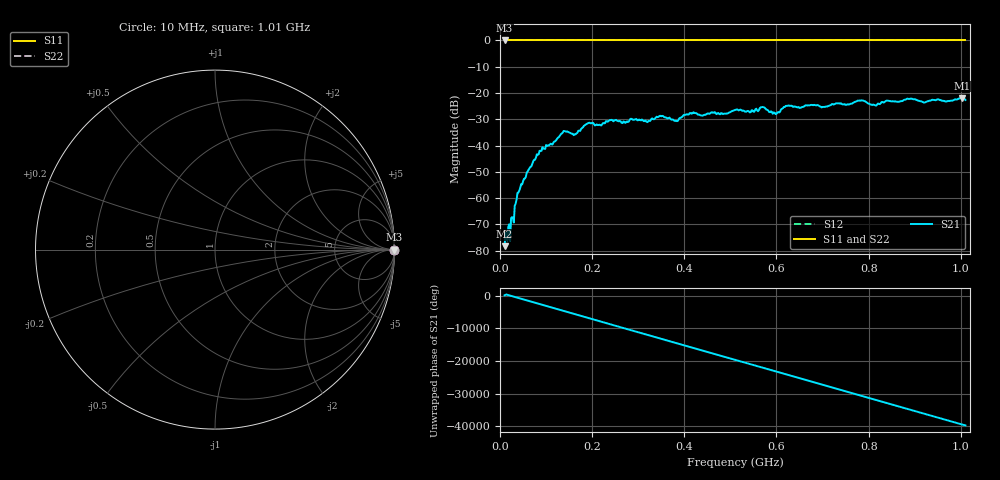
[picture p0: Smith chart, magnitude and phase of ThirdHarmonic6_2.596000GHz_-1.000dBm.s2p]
! 8/17/2025 5:35:36 AM
! C:\ANRITSUVNA\TEMP\TEMP.S2P
! CHANNEL.1
! TR.MEASUREMENT
! RAW.DATA
! RF.CORRECTION.OFF
! AVERAGING.OFF
! IF.BANDWIDTH: 5KHZ
! SWEEPTYPE:  FREQ.SWEEP(Linear)
! Reference Plane Port Info
! PORT:  PORT1  PORT2
! DISTANCE:  0  m  0  m
! TIME:  0  s  0  s
! PHASE.OFFSET:  0  deg.  0  deg.
! LOSS:  0  dB  0  dB
! REF.LOSS:  0  dB  0  dB
! REF.FREQ:  0  Hz  0  Hz
! Power Info
! POWER:  -20  dBm  -20  dBm
! EFF.POWER:  -20  dBm  -20  dBm
! SOURCE.ATTEN:  0  dB  0  dB
! TEST.ATTEN:  0  dB  0  dB
# GHZ S RI R 50.0
! FREQ.GHZ  S11RE  S11IM  S21RE  S21IM  S12RE  S12IM  S22RE  S22IM
!; PortSelection: Port_12
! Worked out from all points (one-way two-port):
!   501 points, 10 MHz to 1.01 GHz, reference 50 ohm
!   highest |S21| = -21.93 dB at 1.002 GHz (marker M1); lowest = -78.3 dB at 10 MHz (marker M2)
!   lowest |S11| = 0.0 dB at 10 MHz (marker M3)
!   |S11| at or under -10 dB: nowhere
!   |S22| runs from 0.0 to 0.0 dB; largest |S21 - S12| = 1.1
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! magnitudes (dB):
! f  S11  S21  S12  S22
! 10 MHz  0.0  -78.3  0.0  0.0
! 26 MHz  0.0  -67.2  0.0  0.0
! 42 MHz  0.0  -57.1  0.0  0.0
! 84 MHz  0.0  -43.3  0.0  0.0
! 138 MHz  0.0  -34.5  0.0  0.0
! 162 MHz  0.0  -35.7  0.0  0.0
! 178 MHz  0.0  -33.3  0.0  0.0
! 192 MHz  0.0  -31.4  0.0  0.0
! 322 MHz  0.0  -30.6  0.0  0.0
! 344 MHz  0.0  -29.1  0.0  0.0
! 382 MHz  0.0  -30.6  0.0  0.0
! 416 MHz  0.0  -27.9  0.0  0.0
! 510 MHz  0.0  -26.5  0.0  0.0
! 570 MHz  0.0  -25.3  0.0  0.0
! 596 MHz  0.0  -27.5  0.0  0.0
! 624 MHz  0.0  -24.9  0.0  0.0
! 678 MHz  0.0  -24.6  0.0  0.0
! 784 MHz  0.0  -22.8  0.0  0.0
! 814 MHz  0.0  -24.7  0.0  0.0
! 844 MHz  0.0  -23.0  0.0  0.0
! 1.002 GHz  0.0  -21.9  0.0  0.0
! 1.01 GHz  0.0  -22.6  0.0  0.0
